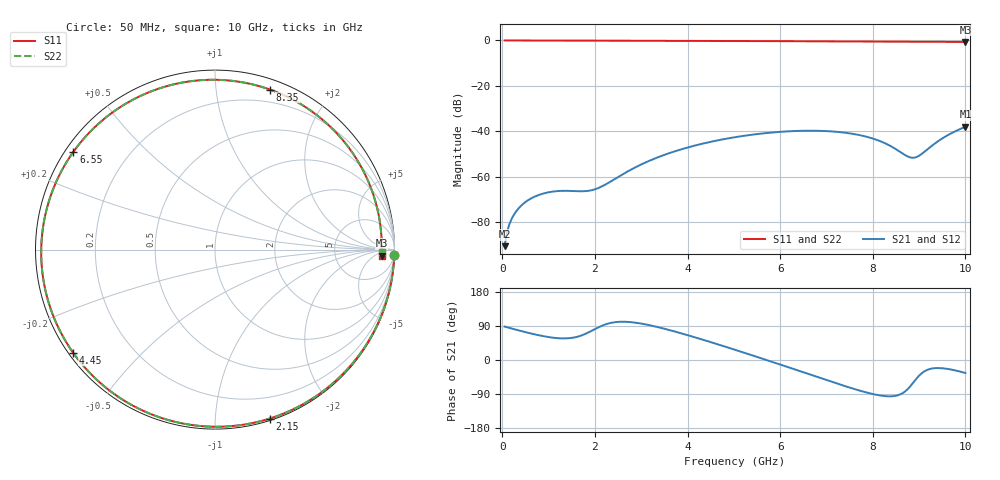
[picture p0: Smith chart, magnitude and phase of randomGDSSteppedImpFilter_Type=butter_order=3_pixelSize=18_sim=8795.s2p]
! freq	dB(S11)	phase(S11)	dB(S12)	phase(S12)
!  dB(S21)	phase(S21)	dB(S22)	phase(S22)
!S-par simulation data
#  GHz  S  DB  R 50
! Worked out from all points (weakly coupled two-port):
!   200 points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, 50 MHz to 10 GHz, reference 50 ohm
!   highest |S21| = -37.99 dB at 10 GHz (marker M1); lowest = -90.5 dB at 50 MHz (marker M2)
!   lowest |S11| = -0.6 dB at 10 GHz (marker M3), VSWR 26.89, Z = 1.1e+03 - j522 ohm
!   |S11| at or under -10 dB: nowhere
!   |S22| runs from -0.6 to 0.0 dB; largest |S21 - S12| = 0
!   S11 on the Smith chart (normalised r, x): 50 MHz: 1, -65; 2.15 GHz: 0.02, -1.37; 4.45 GHz: 0.01, -0.32; 6.55 GHz: 0.02, +0.31; 8.35 GHz: 0.09, +1.40; 10 GHz: 22, -10
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0.05  -0.00 -1.8  -90.53 88.2  -90.53 88.2  -0.00 -1.8
0.15  -0.01 -5.2  -81.05 84.8  -81.05 84.8  -0.01 -5.2
0.4  -0.02 -13.8  -72.85 76.7  -72.85 76.7  -0.02 -13.8
0.75  -0.03 -25.8  -68.29 66.3  -68.29 66.3  -0.03 -25.7
1.15  -0.05 -39.3  -66.36 58.1  -66.36 58.1  -0.05 -39.3
1.75  -0.07 -59.1  -66.36 66.6  -66.36 66.6  -0.07 -59.1
2.15  -0.09 -72.1  -64.24 90.3  -64.24 90.3  -0.09 -72.1
2.75  -0.12 -91.2  -57.17 100.2  -57.17 100.2  -0.12 -91.2
3.4  -0.14 -111.5  -51.11 85.6  -51.11 85.6  -0.14 -111.4
4.45  -0.20 -144.0  -44.83 49.1  -44.83 49.1  -0.20 -143.8
5.05  -0.24 -163.0  -42.49 26.0  -42.49 26.0  -0.24 -162.8
5.8  -0.30 172.1  -40.56 -3.9  -40.56 -3.9  -0.30 172.5
6.55  -0.37 145.4  -39.73 -34.5  -39.73 -34.5  -0.36 146.0
6.7  -0.38 139.7  -39.72 -40.7  -39.72 -40.7  -0.38 140.4
7.2  -0.42 120.2  -40.16 -61.0  -40.16 -61.0  -0.42 121.0
7.6  -0.46 103.7  -41.20 -76.5  -41.20 -76.5  -0.45 104.6
8  -0.49 86.5  -43.16 -89.8  -43.16 -89.8  -0.48 87.6
8.35  -0.51 71.1  -46.10 -95.8  -46.10 -95.8  -0.51 72.2
8.75  -0.54 53.1  -51.02 -77.4  -51.02 -77.4  -0.54 54.3
8.9  -0.55 46.3  -51.58 -55.7  -51.58 -55.7  -0.55 47.6
9.45  -0.59 21.7  -43.79 -21.3  -43.79 -21.3  -0.59 23.1
10  -0.65 -2.0  -37.99 -34.3  -37.99 -34.3  -0.64 -0.7
